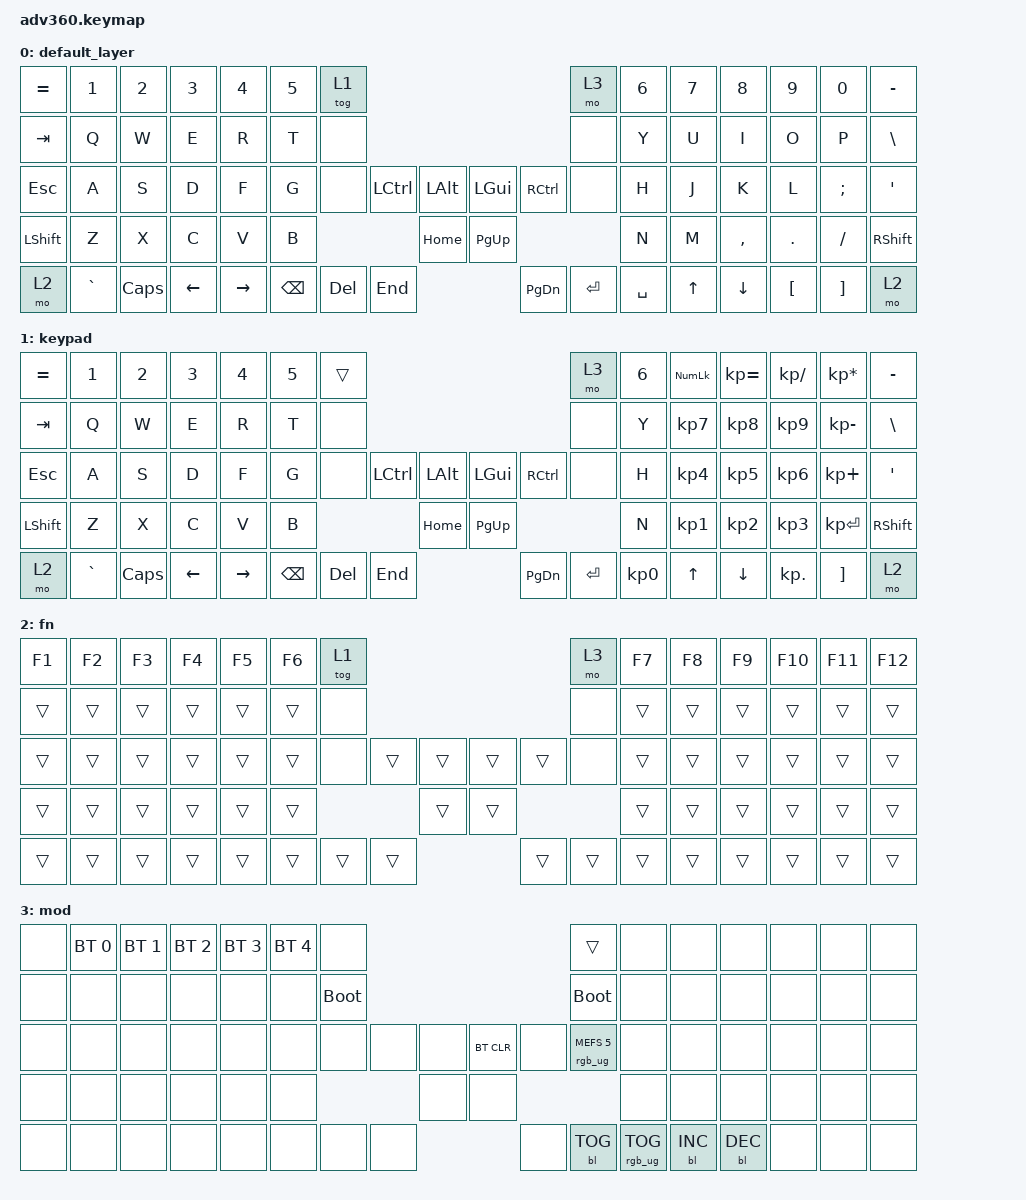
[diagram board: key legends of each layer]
#include <behaviors.dtsi>
#include <dt-bindings/zmk/keys.h>
#include <dt-bindings/zmk/bt.h>
#include <dt-bindings/zmk/rgb.h>
#include <dt-bindings/zmk/backlight.h>

// #include "../zmk-config/zmk-nodefree-config/helper.h"
#include "C:/Users/Лфещт/git/Keyboard/zmk-config/zmk-nodefree-config/helper.h"
// C:\Users\Лфещт\git\Keyboard\Adv360-Pro-ZMK\config\adv360.keymap

// #define NAV 1
// #define FN 2
// #define NUM 3
// #define SYS 4
// #define UC 5
// #define MOUSE 6

// #include "combos.dtsi"  // requires layer aliases
// #include "mouse.dtsi"
// #include "extra_keys.h"

#define XXX &none
#define ___ &trans

#define QUICK_TAP_MS 175

&sk {  // sticky-key config
    release-after-ms = <900>;  // release after 0.6s
    quick-release;             // no double capitalization when rolling keys
};

&sl {  // sticky-layer config
    ignore-modifiers;          // allow chording sticky mods & layers
};

&lt {  // layer-tap config
    flavor = "balanced";
    tapping-term-ms = <200>;
    quick-tap-ms = <QUICK_TAP_MS>;
};

/* Homerow mods */

#define KEYS_L LT0 LT1 LT2 LT3 LT4 LM0 LM1 LM2 LM3 LM4 LB0 LB1 LB2 LB3 LB4  // left hand
#define KEYS_R RT0 RT1 RT2 RT3 RT4 RM0 RM1 RM2 RM3 RM4 RB0 RB1 RB2 RB3 RB4  // right hand
#define THUMBS LH2 LH1 LH0 RH0 RH1 RH2                                      // thumbs

#define MAKE_HRM(NAME, HOLD, TAP) \
    ZMK_BEHAVIOR(NAME, hold_tap, \
        flavor = "balanced"; \
        tapping-term-ms = <280>; \
        quick-tap-ms = <QUICK_TAP_MS>; \
        global-quick-tap-ms = <150>; \
        bindings = <HOLD>, <TAP>; \
        hold-trigger-key-positions = <TRIGGER_POS>; \
        hold-trigger-on-release; \
    )

MAKE_HRM(hml, &kp, &kp)  // left-hand HRMs
MAKE_HRM(hmr, &kp, &kp)  // right-hand HRMs

// MAKE_HRM(hml_repeat, &kp, &key_repeat)  // used for HRM-combo
// MAKE_HRM(hmr_lpar_lt, &kp, &lpar_lt)    // "    "   "   "
// MAKE_HRM(hmr_rpar_gt, &kp, &rpar_gt)    // "    "   "   "

ZMK_BEHAVIOR(win_sleep, macro,
    wait-ms = <100>;
    tap-ms = <5>;
    bindings = <&kp LG(X) &kp U &kp S>;
)

/ {
    // behaviors {
    //   #include "macros.dtsi"

    //   hm: homerow_mods {
    //       compatible = "zmk,behavior-hold-tap";
    //       label = "HOMEROW_MODS";
    //       flavor = "balanced";
    //       #binding-cells = <2>;
    //       tapping-term-ms = <280>;
    //       quick_tap_ms = <QUICK_TAP_MS>;
    //       // global-quick-tap-ms = <150>;
    //       bindings = <&kp>, <&kp>;
    //       // hold-trigger-key-positions = <TRIGGER_POS>;
    //       // hold-trigger-on-release;
    //   };
    // };

  keymap {
    compatible = "zmk,keymap";

    default_layer {
      bindings = <
        &kp EQUAL &kp N1    &kp N2   &kp N3   &kp N4     &kp N5 &tog 1                                                           &mo 3 &kp N6 &kp N7 &kp N8    &kp N9   &kp N0   &kp MINUS
        &kp TAB   &kp Q     &kp W    &kp E    &kp R      &kp T  &none                                                            &none &kp Y  &kp U  &kp I     &kp O    &kp P    &kp BSLH
        &kp ESC   &kp A     &kp S    &kp D    &kp F      &kp G  &none           &kp LCTRL &kp LALT &kp LGUI  &kp RCTRL           &none &kp H  &kp J  &kp K     &kp L    &kp SEMI &kp SQT
        &kp LSHFT &kp Z     &kp X    &kp C    &kp V      &kp B                            &kp HOME &kp PG_UP                           &kp N  &kp M  &kp COMMA &kp DOT  &kp FSLH &kp RSHFT
        &mo 2     &kp GRAVE &kp CAPS &kp LEFT &kp RIGHT                &kp BSPC &kp DEL   &kp END  &kp PG_DN &kp ENTER &kp SPACE              &kp UP &kp DOWN  &kp LBKT &kp RBKT &mo 2
      >;
    };
    keypad {
      bindings = <
        &kp EQUAL &kp N1    &kp N2   &kp N3   &kp N4     &kp N5 &trans                                                           &mo 3 &kp N6 &kp KP_NUM &kp KP_EQUAL &kp KP_DIVIDE &kp KP_MULTIPLY &kp MINUS
        &kp TAB   &kp Q     &kp W    &kp E    &kp R      &kp T  &none                                                            &none &kp Y  &kp KP_N7  &kp KP_N8    &kp KP_N9     &kp KP_MINUS    &kp BSLH
        &kp ESC   &kp A     &kp S    &kp D    &kp F      &kp G  &none           &kp LCTRL &kp LALT &kp LGUI  &kp RCTRL           &none &kp H  &kp KP_N4  &kp KP_N5    &kp KP_N6     &kp KP_PLUS     &kp SQT
        &kp LSHFT &kp Z     &kp X    &kp C    &kp V      &kp B                            &kp HOME &kp PG_UP                           &kp N  &kp KP_N1  &kp KP_N2    &kp KP_N3     &kp KP_ENTER    &kp RSHFT
        &mo 2     &kp GRAVE &kp CAPS &kp LEFT &kp RIGHT                &kp BSPC &kp DEL   &kp END  &kp PG_DN &kp ENTER &kp KP_N0              &kp UP     &kp DOWN     &kp KP_DOT    &kp RBKT        &mo 2
      >;
    };
    fn {
      bindings = <
        &kp F1 &kp F2 &kp F3 &kp F4 &kp F5 &kp F6 &tog 1                                           &mo 3 &kp F7 &kp F8 &kp F9 &kp F10 &kp F11 &kp F12
        &trans &trans &trans &trans &trans &trans  &none                                           &none &trans &trans &trans &trans  &trans  &trans
        &trans &trans &trans &trans &trans &trans  &none        &trans &trans &trans &trans        &none &trans &trans &trans &trans  &trans  &trans
        &trans &trans &trans &trans &trans &trans                      &trans &trans                     &trans &trans &trans &trans  &trans  &trans
        &trans &trans &trans &trans &trans               &trans &trans &trans &trans &trans &trans              &trans &trans &trans  &trans  &trans
      >;
    };
    mod {
      bindings = <
        &none &bt BT_SEL 0 &bt BT_SEL 1 &bt BT_SEL 2 &bt BT_SEL 3 &bt BT_SEL 4 &none                                                                     &trans                 &none        &none        &none        &none &none &none
        &none &none        &none        &none        &none        &none        &bootloader                                                               &bootloader            &none        &none        &none        &none &none &none
        &none &none        &none        &none        &none        &none        &none                   &none &none &bt BT_CLR &none                      &rgb_ug RGB_MEFS_CMD 5 &none        &none        &none        &none &none &none
        &none &none        &none        &none        &none        &none                                      &none &none                                                        &none        &none        &none        &none &none &none
        &none &none        &none        &none        &none                                       &none &none &none &none      &bl BL_TOG &rgb_ug RGB_TOG                                     &bl BL_INC   &bl BL_DEC   &none &none &none
      >;
    };
  };
};
